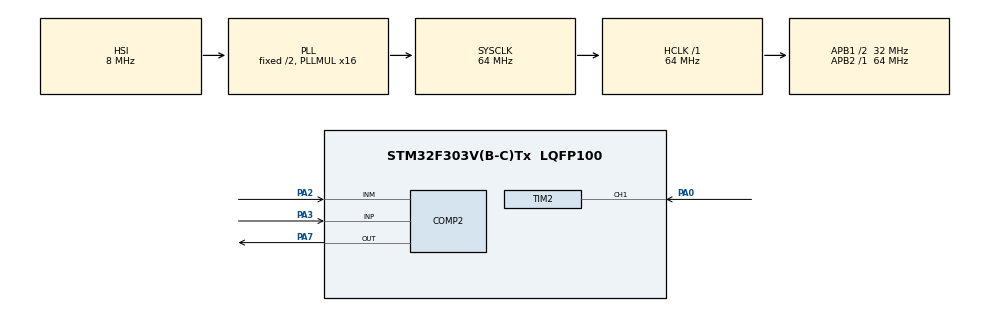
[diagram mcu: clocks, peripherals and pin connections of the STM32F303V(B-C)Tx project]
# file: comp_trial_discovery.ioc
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COMP2.Hysteresis=COMP_HYSTERESIS_NONE
Mcu.Family=STM32F3
Mcu.Name=STM32F303V(B-C)Tx
Mcu.Package=LQFP100
NVIC.PriorityGroup=NVIC_PRIORITYGROUP_4
PA0.GPIO_Speed=GPIO_SPEED_FREQ_HIGH
PA0.Signal=S_TIM2_CH1_ETR
PA2.Mode=INM
PA2.Signal=COMP2_INM
PA3.Mode=INP
PA3.Signal=COMP2_INP
PA7.Mode=ExternalOutput
PA7.Signal=COMP2_OUT
ProjectManager.HeapSize=0x200
ProjectManager.StackSize=0x400
ProjectManager.TargetToolchain=MDK-ARM V4
RCC.AHBFreq_Value=64000000
RCC.APB1CLKDivider=RCC_HCLK_DIV2
RCC.APB1Freq_Value=32000000
RCC.APB1TimFreq_Value=64000000
RCC.APB2Freq_Value=64000000
RCC.APB2TimFreq_Value=64000000
RCC.CortexFreq_Value=64000000
RCC.HCLKFreq_Value=64000000
RCC.HSE_VALUE=8000000
RCC.HSI_VALUE=8000000
RCC.LSE_VALUE=32768
RCC.PLLMUL=RCC_PLL_MUL16
RCC.SYSCLKFreq_VALUE=64000000
RCC.SYSCLKSourceVirtual=RCC_SYSCLKSOURCE_PLLCLK
RCC.USBFreq_Value=64000000
SH.S_TIM2_CH1_ETR.0=TIM2_CH1,Input_Capture1_from_TI1
TIM2.Channel-Input_Capture1_from_TI1=TIM_CHANNEL_1
TIM2.ICFilter_CH1=1
TIM2.ICPolarity_CH1=TIM_INPUTCHANNELPOLARITY_BOTHEDGE
TIM2.Period=0xFFFFFFFF
VP_TIM2_VS_ClockSourceINT.Mode=Internal
board=comp_trial_discovery

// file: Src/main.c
/**
  ******************************************************************************
  * @file           : main.c
  * @brief          : Main program body
  ******************************************************************************
  ** This notice applies to any and all portions of this file
  * that are not between comment pairs USER CODE BEGIN and
  * USER CODE END. Other portions of this file, whether
  * inserted by the user or by software development tools
  * are owned by their respective copyright owners.
  *
  * COPYRIGHT(c) 2018 STMicroelectronics
  *
  * Redistribution and use in source and binary forms, with or without modification,
  * are permitted provided that the following conditions are met:
  *   1. Redistributions of source code must retain the above copyright notice,
  *      this list of conditions and the following disclaimer.
  *   2. Redistributions in binary form must reproduce the above copyright notice,
  *      this list of conditions and the following disclaimer in the documentation
  *      and/or other materials provided with the distribution.
  *   3. Neither the name of STMicroelectronics nor the names of its contributors
  *      may be used to endorse or promote products derived from this software
  *      without specific prior written permission.
  *
  * THIS SOFTWARE IS PROVIDED BY THE COPYRIGHT HOLDERS AND CONTRIBUTORS "AS IS"
  * AND ANY EXPRESS OR IMPLIED WARRANTIES, INCLUDING, BUT NOT LIMITED TO, THE
  * IMPLIED WARRANTIES OF MERCHANTABILITY AND FITNESS FOR A PARTICULAR PURPOSE ARE
  * DISCLAIMED. IN NO EVENT SHALL THE COPYRIGHT HOLDER OR CONTRIBUTORS BE LIABLE
  * FOR ANY DIRECT, INDIRECT, INCIDENTAL, SPECIAL, EXEMPLARY, OR CONSEQUENTIAL
  * DAMAGES (INCLUDING, BUT NOT LIMITED TO, PROCUREMENT OF SUBSTITUTE GOODS OR
  * SERVICES; LOSS OF USE, DATA, OR PROFITS; OR BUSINESS INTERRUPTION) HOWEVER
  * CAUSED AND ON ANY THEORY OF LIABILITY, WHETHER IN CONTRACT, STRICT LIABILITY,
  * OR TORT (INCLUDING NEGLIGENCE OR OTHERWISE) ARISING IN ANY WAY OUT OF THE USE
  * OF THIS SOFTWARE, EVEN IF ADVISED OF THE POSSIBILITY OF SUCH DAMAGE.
  *
  ******************************************************************************
  */
#include "main.h"
#include "stm32f3xx_hal.h"

/* USER CODE BEGIN Includes */
#include "ringbuf32.h"
#include "iebus.h"
#include "buffers.h"
/* USER CODE END Includes */

COMP_HandleTypeDef hcomp2;

TIM_HandleTypeDef htim2;

/* USER CODE BEGIN PV */
/* Private variables ---------------------------------------------------------*/
#define IC_CAPTURE_BUFFER_SIZE 512
RINGBUF32_DATA ic_capture_buffer[IC_CAPTURE_BUFFER_SIZE];
RINGBUF32 ic_capture_ring;
/* USER CODE END PV */

void SystemClock_Config(void);
static void MX_GPIO_Init(void);
static void MX_COMP2_Init(void);
static void MX_TIM2_Init(void);

/* USER CODE BEGIN PFP */
static void iebusFrameReceived(IEBUS_FRAME *frame)
{
    static int cnt=0;
    cnt++;
}

void TIM2_IRQHandler()
{
    HAL_TIM_IRQHandler(&htim2);
}

/* Private function prototypes -----------------------------------------------*/

/* USER CODE END PFP */

/* USER CODE BEGIN 0 */
//#define counts_to_us(counts) (uint32_t)((counts) * 5 / 4)
#define counts_to_us(counts) (uint32_t)((counts) * 5 / 32)
void HAL_TIM_IC_CaptureCallback(TIM_HandleTypeDef *htim)
{
    if(htim->Instance == TIM2)
    {
        static uint32_t old_count = 0;
        uint32_t new_count = __HAL_TIM_GET_COMPARE(htim, TIM_CHANNEL_1);
        uint32_t us = counts_to_us(new_count - old_count);
        ringbuf32_putLong(&ic_capture_ring, us);
        old_count = new_count;
        iebus_pushUs(us);
        //__HAL_TIM_SET_COUNTER(&htim2, 0);
    }
}
/* USER CODE END 0 */

int main(void)
{

  /* MCU Configuration----------------------------------------------------------*/

  /* Reset of all peripherals, Initializes the Flash interface and the Systick. */
  HAL_Init();

  /* Configure the system clock */
  SystemClock_Config();

  /* Initialize all configured peripherals */
  MX_GPIO_Init();
  MX_COMP2_Init();
  MX_TIM2_Init();
  /* USER CODE BEGIN 2 */
  ringbuf32_initialize(&ic_capture_ring, ic_capture_buffer, IC_CAPTURE_BUFFER_SIZE);
  HAL_NVIC_EnableIRQ(TIM2_IRQn);
  HAL_COMP_Start(&hcomp2);
  //HAL_TIM_Base_Start(&htim2);
  HAL_TIM_IC_Start_IT(&htim2, TIM_CHANNEL_1);

  //iebus_initialize(iebusFrameReceived, adcBuffer, ADC_BUFFER_SIZE);
  //iebus_start();
  /* USER CODE END 2 */

  /* Infinite loop */
  /* USER CODE BEGIN WHILE */
  while (1)
  {
      //RINGBUF32_DATA ic_out = 0;
      //if(ringbuf32_getLong(&ic_capture_ring, &ic_out))
      {
          // load
          //iebus_pushUs(ic_out);
      }

  /* USER CODE END WHILE */

  }

}

void SystemClock_Config(void)
{

  RCC_OscInitTypeDef RCC_OscInitStruct;
  RCC_ClkInitTypeDef RCC_ClkInitStruct;

    /**Initializes the CPU, AHB and APB busses clocks
    */
  RCC_OscInitStruct.OscillatorType = RCC_OSCILLATORTYPE_HSI;
  RCC_OscInitStruct.HSIState = RCC_HSI_ON;
  RCC_OscInitStruct.HSICalibrationValue = 16;
  RCC_OscInitStruct.PLL.PLLState = RCC_PLL_ON;
  RCC_OscInitStruct.PLL.PLLSource = RCC_PLLSOURCE_HSI;
  RCC_OscInitStruct.PLL.PLLMUL = RCC_PLL_MUL16;
  if (HAL_RCC_OscConfig(&RCC_OscInitStruct) != HAL_OK)
  {
    _Error_Handler(__FILE__, __LINE__);
  }

    /**Initializes the CPU, AHB and APB busses clocks
    */
  RCC_ClkInitStruct.ClockType = RCC_CLOCKTYPE_HCLK|RCC_CLOCKTYPE_SYSCLK
                              |RCC_CLOCKTYPE_PCLK1|RCC_CLOCKTYPE_PCLK2;
  RCC_ClkInitStruct.SYSCLKSource = RCC_SYSCLKSOURCE_PLLCLK;
  RCC_ClkInitStruct.AHBCLKDivider = RCC_SYSCLK_DIV1;
  RCC_ClkInitStruct.APB1CLKDivider = RCC_HCLK_DIV2;
  RCC_ClkInitStruct.APB2CLKDivider = RCC_HCLK_DIV1;

  if (HAL_RCC_ClockConfig(&RCC_ClkInitStruct, FLASH_LATENCY_2) != HAL_OK)
  {
    _Error_Handler(__FILE__, __LINE__);
  }

    /**Configure the Systick interrupt time
    */
  HAL_SYSTICK_Config(HAL_RCC_GetHCLKFreq()/1000);

    /**Configure the Systick
    */
  HAL_SYSTICK_CLKSourceConfig(SYSTICK_CLKSOURCE_HCLK);

  /* SysTick_IRQn interrupt configuration */
  HAL_NVIC_SetPriority(SysTick_IRQn, 0, 0);
}

/* COMP2 init function */
static void MX_COMP2_Init(void)
{

  hcomp2.Instance = COMP2;
  hcomp2.Init.InvertingInput = COMP_INVERTINGINPUT_IO1;
  hcomp2.Init.NonInvertingInput = COMP_NONINVERTINGINPUT_IO2;
  hcomp2.Init.Output = COMP_OUTPUT_NONE;
  hcomp2.Init.OutputPol = COMP_OUTPUTPOL_NONINVERTED;
  hcomp2.Init.Hysteresis = COMP_HYSTERESIS_NONE;
  hcomp2.Init.BlankingSrce = COMP_BLANKINGSRCE_NONE;
  hcomp2.Init.Mode = COMP_MODE_HIGHSPEED;
  hcomp2.Init.WindowMode = COMP_WINDOWMODE_DISABLE;
  hcomp2.Init.TriggerMode = COMP_TRIGGERMODE_NONE;
  if (HAL_COMP_Init(&hcomp2) != HAL_OK)
  {
    _Error_Handler(__FILE__, __LINE__);
  }

}

/* TIM2 init function */
static void MX_TIM2_Init(void)
{

  TIM_ClockConfigTypeDef sClockSourceConfig;
  TIM_MasterConfigTypeDef sMasterConfig;
  TIM_IC_InitTypeDef sConfigIC;

  htim2.Instance = TIM2;
  htim2.Init.Prescaler = 0;
  htim2.Init.CounterMode = TIM_COUNTERMODE_UP;
  htim2.Init.Period = 0xFFFFFFFF;
  htim2.Init.ClockDivision = TIM_CLOCKDIVISION_DIV1;
  htim2.Init.AutoReloadPreload = TIM_AUTORELOAD_PRELOAD_DISABLE;
  if (HAL_TIM_Base_Init(&htim2) != HAL_OK)
  {
    _Error_Handler(__FILE__, __LINE__);
  }

  sClockSourceConfig.ClockSource = TIM_CLOCKSOURCE_INTERNAL;
  if (HAL_TIM_ConfigClockSource(&htim2, &sClockSourceConfig) != HAL_OK)
  {
    _Error_Handler(__FILE__, __LINE__);
  }

  if (HAL_TIM_IC_Init(&htim2) != HAL_OK)
  {
    _Error_Handler(__FILE__, __LINE__);
  }

  sMasterConfig.MasterOutputTrigger = TIM_TRGO_RESET;
  sMasterConfig.MasterSlaveMode = TIM_MASTERSLAVEMODE_DISABLE;
  if (HAL_TIMEx_MasterConfigSynchronization(&htim2, &sMasterConfig) != HAL_OK)
  {
    _Error_Handler(__FILE__, __LINE__);
  }

  sConfigIC.ICPolarity = TIM_INPUTCHANNELPOLARITY_BOTHEDGE;
  sConfigIC.ICSelection = TIM_ICSELECTION_DIRECTTI;
  sConfigIC.ICPrescaler = TIM_ICPSC_DIV1;
  sConfigIC.ICFilter = 1;
  if (HAL_TIM_IC_ConfigChannel(&htim2, &sConfigIC, TIM_CHANNEL_1) != HAL_OK)
  {
    _Error_Handler(__FILE__, __LINE__);
  }

}

/** Pinout Configuration
*/
static void MX_GPIO_Init(void)
{

  /* GPIO Ports Clock Enable */
  __HAL_RCC_GPIOA_CLK_ENABLE();

}

void _Error_Handler(char *file, int line)
{
  while(1)
  {
  }
}

/************************ (C) COPYRIGHT STMicroelectronics *****END OF FILE****/
